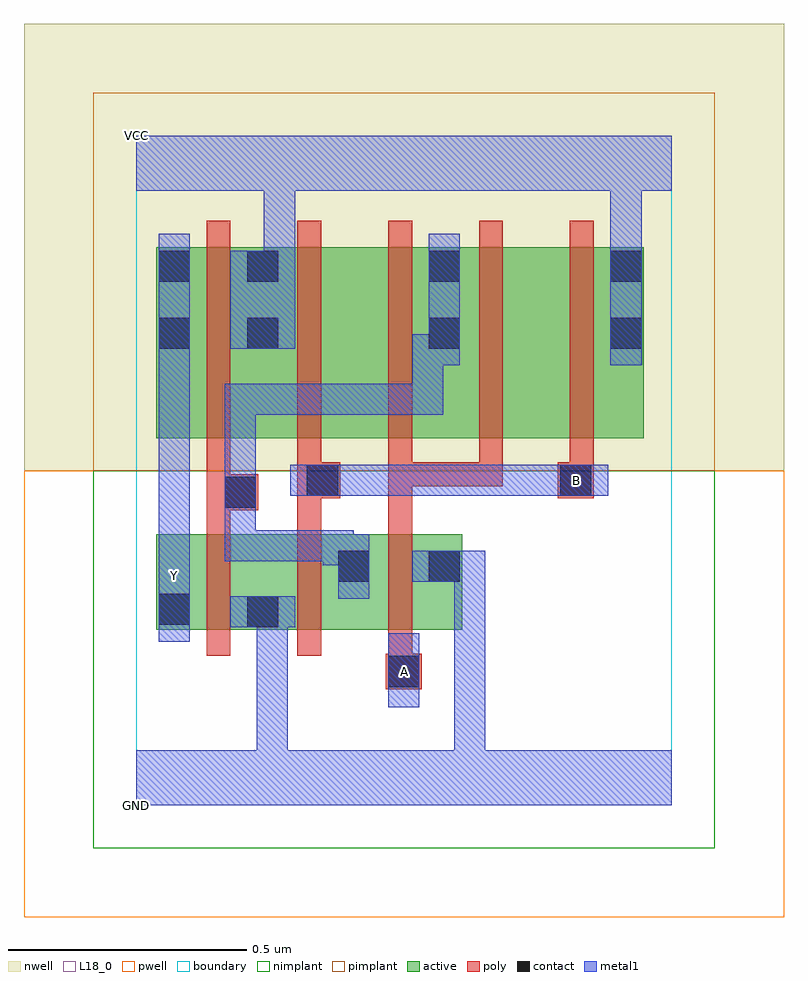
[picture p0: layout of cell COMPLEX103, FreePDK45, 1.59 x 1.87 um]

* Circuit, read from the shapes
.subckt COMPLEX103 A B GND VCC Y
M1 GND n1 Y VSUBS nfet w=0.2u l=0.05u
M2 n1 B GND VSUBS nfet w=0.2u l=0.05u
M3 GND A n1 VSUBS nfet w=0.2u l=0.05u
M4 VCC n1 Y n2 pfet w=0.4u l=0.05u
M5 n3 B VCC n2 pfet w=0.4u l=0.05u
M6 n1 A n3 n2 pfet w=0.4u l=0.05u
M7 n4 A n1 n2 pfet w=0.4u l=0.05u
M8 VCC B n4 n2 pfet w=0.4u l=0.05u
.ends

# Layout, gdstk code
import gdstk
lib = gdstk.Library(unit=1e-6, precision=1e-09)
def R(c, l, rs):  # rectangles x0, y0, x1, y1
    for r in rs: c.add(gdstk.rectangle(r[:2], r[2:], *l))
def A(c, l, x, y, w, h, nx, ny, dx, dy):  # array of equal rectangles
    R(c, l, [(x+i*dx, y+j*dy, x+i*dx+w, y+j*dy+h) for i in range(nx) for j in range(ny)])
active = (1, 0)
pwell = (2, 0)
nwell = (3, 0)
nimplant = (4, 0)
pimplant = (5, 0)
poly = (9, 0)
contact = (10, 0)
metal1 = (11, 0)
L18_0 = (18, 0)
boundary = (235, 0)

complex103 = lib.new_cell('COMPLEX103')
R(complex103, active, [(0.042,0.367,0.117,0.567), (0.042,0.367,0.302,0.567), (0.227,0.367,0.302,0.567), (0.227,0.367,0.492,0.567), (0.417,0.367,0.682,0.567), (0.607,0.367,0.682,0.567), (0.417,0.445,0.492,0.537), (0.042,0.767,0.302,1.167), (0.042,0.767,0.117,1.165), (0.227,0.767,0.457,1.167), (0.457,0.767,0.682,1.167), (0.607,0.767,0.837,1.167), (0.837,0.767,1.062,1.167), (0.987,0.767,1.062,1.167), (0.227,0.907,0.302,1.167), (0.607,0.907,0.682,1.167)])
R(complex103, pwell, [(-0.235,-0.235,1.355,0.7)])
R(complex103, nwell, [(-0.235,0.7,1.355,1.635)])
R(complex103, nimplant, [(-0.09,-0.09,1.21,0.7)])
R(complex103, pimplant, [(-0.09,0.7,1.21,1.49)])
A(complex103, poly, 0.147, 0.312, 0.05, 0.31, 3, 1, 0.19, 0)
A(complex103, poly, 0.337, 0.667, 0.05, 0.095, 4, 1, 0.19, 0)
A(complex103, poly, 0.147, 0.712, 0.05, 0.51, 5, 1, 0.19, 0)
R(complex103, poly, [(0.522,0.242,0.597,0.317), (0.527,0.267,0.577,0.362), (0.147,0.572,0.197,0.667), (0.337,0.572,0.387,0.692), (0.527,0.572,0.577,0.717), (0.147,0.617,0.255,0.692), (0.147,0.642,0.197,0.762), (0.337,0.642,0.427,0.717), (0.882,0.642,0.957,0.717), (0.527,0.667,0.767,0.717), (0.527,0.667,0.577,0.717), (0.527,0.667,0.577,0.717), (0.527,0.667,0.577,0.717), (0.717,0.667,0.767,0.717)])
A(complex103, contact, 0.232, 0.955, 0.065, 0.065, 3, 2, 0.38, 0.14)
R(complex103, contact, [(0.527,0.247,0.592,0.312), (0.232,0.372,0.297,0.437), (0.047,0.377,0.112,0.442), (0.422,0.467,0.487,0.532), (0.612,0.467,0.677,0.532), (0.185,0.622,0.25,0.687), (0.357,0.647,0.422,0.712), (0.887,0.647,0.952,0.712), (0.047,0.955,0.112,1.02), (0.047,1.095,0.112,1.16)])
R(complex103, metal1, [(0,0,1.12,0.115), (0.252,0.05,0.317,0.437), (0.665,0.05,0.73,0.532), (0.527,0.205,0.592,0.36), (0.047,0.342,0.112,0.477), (0.197,0.372,0.332,0.437), (0.252,0.372,0.317,0.437), (0.252,0.372,0.317,0.437), (0.252,0.372,0.317,0.437), (0.252,0.372,0.317,0.437), (0.252,0.372,0.317,0.437), (0.252,0.372,0.317,0.437), (0.047,0.412,0.112,0.477), (0.047,0.412,0.112,0.547), (0.422,0.432,0.487,0.567), (0.577,0.467,0.73,0.532), (0.665,0.467,0.73,0.532), (0.665,0.467,0.73,0.532), (0.665,0.467,0.73,0.532), (0.665,0.467,0.73,0.532), (0.665,0.467,0.73,0.532), (0.665,0.467,0.73,0.532), (0.047,0.482,0.112,0.985), (0.39,0.502,0.487,0.567), (0.39,0.502,0.455,0.575), (0.185,0.51,0.25,0.575), (0.185,0.51,0.455,0.575), (0.185,0.51,0.25,0.652), (0.185,0.587,0.25,0.652), (0.185,0.587,0.25,0.652), (0.185,0.587,0.25,0.722), (0.185,0.587,0.25,0.882), (0.322,0.647,0.457,0.712), (0.392,0.647,0.457,0.712), (0.392,0.647,0.457,0.712), (0.392,0.647,0.595,0.712), (0.53,0.647,0.595,0.712), (0.53,0.647,0.78,0.712), (0.715,0.647,0.78,0.712), (0.715,0.647,0.78,0.712), (0.715,0.647,0.78,0.712), (0.715,0.647,0.917,0.712), (0.852,0.647,0.917,0.712), (0.852,0.647,0.917,0.712), (0.852,0.647,0.987,0.712), (0.185,0.817,0.25,0.882), (0.185,0.817,0.387,0.882), (0.322,0.817,0.387,0.882), (0.322,0.817,0.387,0.882), (0.322,0.817,0.387,0.882), (0.322,0.817,0.642,0.882), (0.577,0.817,0.642,0.985), (0.047,0.92,0.112,1.195), (0.577,0.92,0.677,0.985), (0.612,0.92,0.677,1.195), (0.992,0.92,1.057,1.195), (0.197,0.955,0.332,1.16), (0.267,1.095,0.332,1.35), (0.992,1.13,1.057,1.35), (0,1.285,1.12,1.4)])
R(complex103, L18_0, [(0,0,1.12,0.115), (0.252,0.05,0.317,0.437), (0.665,0.05,0.73,0.532), (0.527,0.205,0.592,0.36), (0.527,0.247,0.592,0.312), (0.047,0.342,0.112,0.477), (0.197,0.372,0.332,0.437), (0.252,0.372,0.317,0.437), (0.252,0.372,0.317,0.437), (0.252,0.372,0.317,0.437), (0.252,0.372,0.317,0.437), (0.252,0.372,0.317,0.437), (0.252,0.372,0.317,0.437), (0.047,0.412,0.112,0.547), (0.047,0.412,0.112,0.477), (0.047,0.447,0.112,0.512), (0.577,0.467,0.73,0.532), (0.665,0.467,0.73,0.532), (0.665,0.467,0.73,0.532), (0.665,0.467,0.73,0.532), (0.665,0.467,0.73,0.532), (0.665,0.467,0.73,0.532), (0.665,0.467,0.73,0.532), (0.047,0.482,0.112,0.985), (0.322,0.647,0.457,0.712), (0.392,0.647,0.457,0.712), (0.392,0.647,0.457,0.712), (0.392,0.647,0.595,0.712), (0.53,0.647,0.595,0.712), (0.53,0.647,0.78,0.712), (0.715,0.647,0.78,0.712), (0.715,0.647,0.78,0.712), (0.715,0.647,0.78,0.712), (0.715,0.647,0.917,0.712), (0.852,0.647,0.917,0.712), (0.852,0.647,0.917,0.712), (0.852,0.647,0.987,0.712), (0.887,0.647,0.952,0.712), (0.047,0.92,0.112,1.195), (0.992,0.92,1.057,1.195), (0.197,0.955,0.332,1.16), (0.267,1.095,0.332,1.35), (0.992,1.13,1.057,1.35), (0,1.285,1.12,1.4)])
R(complex103, boundary, [(0,0,1.12,1.4)])
complex103.add(gdstk.Label('A', (0.56,0.28), layer=11, texttype=0))
complex103.add(gdstk.Label('B', (0.92,0.68), layer=11, texttype=0))
complex103.add(gdstk.Label('Y', (0.08,0.48), layer=11, texttype=0))
complex103.add(gdstk.Label('VCC', (0,1.4), layer=11, texttype=0))
complex103.add(gdstk.Label('GND', (0,0), layer=11, texttype=0))

lib.write_gds('COMPLEX103.gds')
